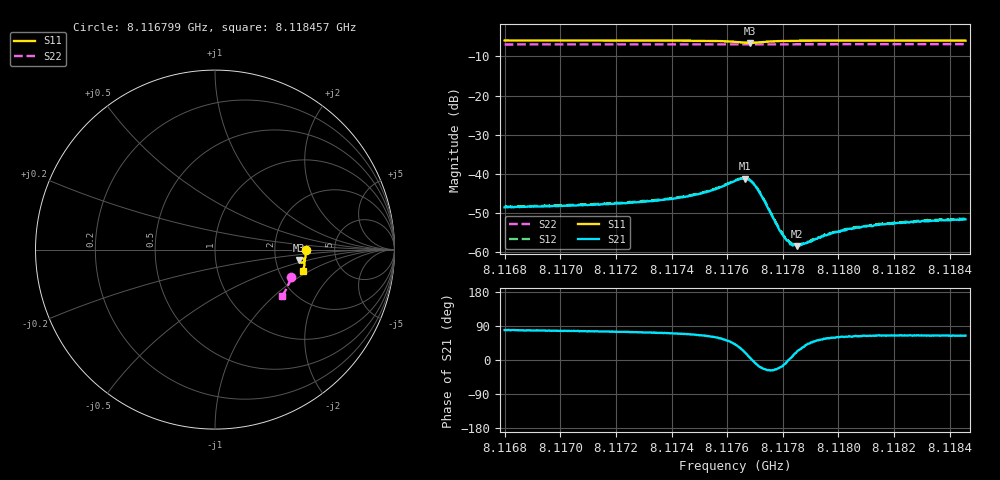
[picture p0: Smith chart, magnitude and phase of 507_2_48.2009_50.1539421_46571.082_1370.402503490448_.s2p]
#  HZ  S  RI  R  50.00
! Rohde & Schwarz Vector Network Analyzer
! Rohde-Schwarz,ZNB20-2Port,1311601062101988,3.16
! Created: UTC 3/20/2024, 11:58:49 AM
! freq[Hz]  re:S11  im:S11  re:S21  im:S21  re:S12  im:S12  re:S22  im:S22
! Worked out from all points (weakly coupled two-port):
!   401 points, 8.116799 GHz to 8.118457 GHz, reference 50 ohm
!   highest |S21| = -41.27 dB at 8.117665 GHz (marker M1); lowest = -58.6 dB at 8.117852 GHz (marker M2)
!   lowest |S11| = -6.5 dB at 8.117682 GHz (marker M3), VSWR 2.78, Z = 136 - j20.3 ohm
!   |S11| at or under -10 dB: nowhere
!   |S22| runs from -6.9 to -6.8 dB; largest |S21 - S12| = 0.00022
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8.116799e9  0.5068 -0.000491  0.000708 0.00364  0.00075 0.0037  0.4231 -0.1552
8.1170767e9  0.5058 -0.0223  0.000956 0.00384  0.00102 0.00389  0.417 -0.1734
8.1172177e9  0.5047 -0.0337  0.00111 0.00402  0.00117 0.00408  0.4134 -0.1826
8.1173544e9  0.5031 -0.0454  0.00144 0.00432  0.0015 0.00439  0.4098 -0.1915
8.1175036e9  0.4986 -0.0604  0.00229 0.00505  0.00236 0.00512  0.4055 -0.2013
8.1175658e9  0.4937 -0.0678  0.00334 0.00553  0.0035 0.0056  0.4035 -0.2052
8.117628e9  0.4808 -0.0735  0.00605 0.00536  0.00623 0.0054  0.4012 -0.209
8.1176653e9  0.4691 -0.066  0.00818 0.00279  0.00832 0.0028  0.3996 -0.2108
8.1176819e9  0.4677 -0.0582  0.00813 0.000821  0.0083 0.000838  0.399 -0.2114
8.1176984e9  0.4711 -0.0512  0.00709 -0.000835  0.00724 -0.000887  0.3988 -0.2122
8.117715e9  0.4772 -0.0473  0.00559 -0.00173  0.00573 -0.00178  0.3988 -0.2131
8.1177813e9  0.494 -0.0535  0.00196 -0.000816  0.00201 -0.000848  0.3974 -0.2176
8.1178062e9  0.4963 -0.0575  0.0015 -0.000285  0.00153 -0.000295  0.3968 -0.2193
8.1178311e9  0.4976 -0.0612  0.00125 0.000145  0.00125 0.000134  0.3959 -0.2208
8.1178518e9  0.4982 -0.0639  0.00108 0.000471  0.00114 0.000439  0.3954 -0.2222
8.117885e9  0.4986 -0.0681  0.000988 0.000829  0.00103 0.000847  0.3943 -0.2242
8.1179057e9  0.4987 -0.0703  0.000944 0.000996  0.000985 0.00104  0.3938 -0.2256
8.1179803e9  0.4985 -0.0779  0.0009 0.00149  0.000928 0.0015  0.3912 -0.2304
8.1180342e9  0.498 -0.083  0.000932 0.00172  0.000934 0.00173  0.3894 -0.2337
8.1181834e9  0.4961 -0.0955  0.000969 0.00205  0.00101 0.00209  0.3842 -0.2429
8.1183119e9  0.494 -0.1054  0.00103 0.00221  0.00109 0.00228  0.3796 -0.2507
8.1184569e9  0.4915 -0.1165  0.00113 0.00235  0.00116 0.00238  0.3744 -0.2595
